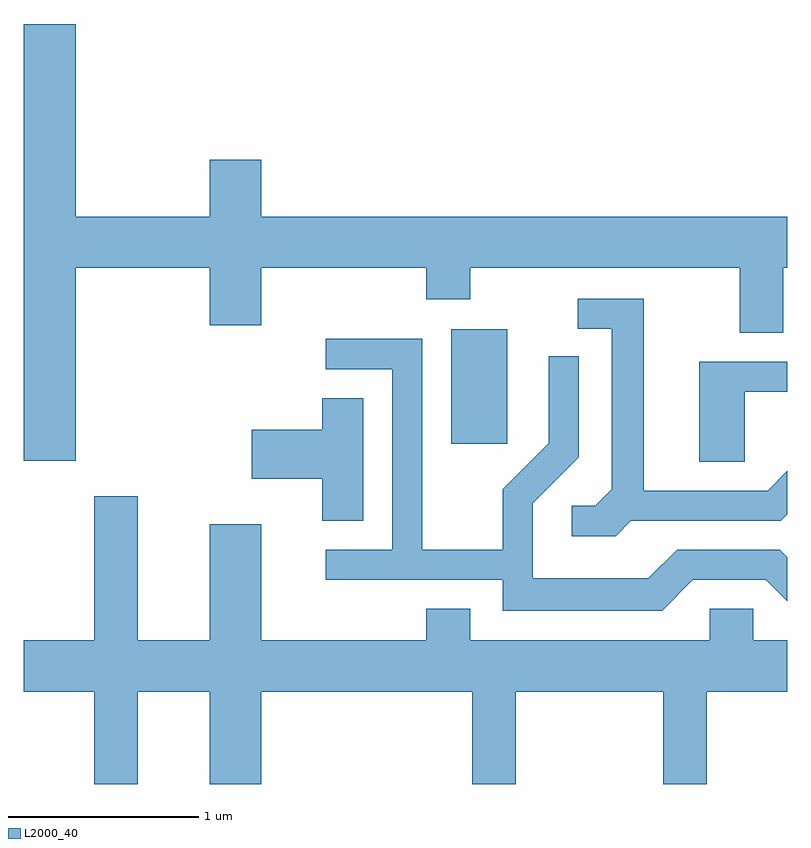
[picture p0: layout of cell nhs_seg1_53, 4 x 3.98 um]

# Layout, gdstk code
import gdstk
lib = gdstk.Library(unit=1e-6, precision=1e-09)
def R(c, l, rs):  # rectangles x0, y0, x1, y1
    for r in rs: c.add(gdstk.rectangle(r[:2], r[2:], *l))
def P(c, l, *ps):  # polygons
    for p in ps: c.add(gdstk.Polygon(p, *l))
L2000_40 = (2000, 40)

nhs_seg1_53 = lib.new_cell('nhs_seg1_53')
R(nhs_seg1_53, L2000_40, [(187.851,947.496,188.144,948.094)])
P(nhs_seg1_53, L2000_40, [(185.884,948.416),(186.586,948.416),(186.586,948.116),(186.854,948.116),(186.854,948.416),(187.721,948.416),(187.721,948.251),(187.949,948.251),(187.949,948.416),(189.361,948.416),(189.361,948.076),(189.589,948.076),(189.589,948.416),(189.611,948.416),(189.611,948.684),(186.854,948.684),(186.854,948.984),(186.586,948.984),(186.586,948.684),(185.884,948.684),(185.884,949.694),(185.611,949.694),(185.611,947.406),(185.884,947.406)],
  [(188.792,947.091),(189.577,947.091),(189.611,947.125),(189.611,947.352),(189.509,947.249),(188.859,947.249),(188.859,948.254),(188.513,948.254),(188.513,948.096),(188.691,948.096),(188.691,947.257),(188.604,947.169),(188.483,947.169),(188.483,947.011),(188.712,947.011)],
  [(189.117,946.781),(189.499,946.781),(189.611,946.669),(189.611,946.9),(189.572,946.939),(189.034,946.939),(188.884,946.789),(188.279,946.789),(188.279,947.184),(188.519,947.424),(188.519,947.953),(188.361,947.953),(188.361,947.497),(188.121,947.257),(188.121,946.939),(187.699,946.939),(187.699,948.044),(187.193,948.044),(187.193,947.886),(187.541,947.886),(187.541,946.939),(187.193,946.939),(187.193,946.781),(188.121,946.781),(188.121,946.621),(188.957,946.621)],
  [(189.389,947.766),(189.611,947.766),(189.611,947.924),(189.151,947.924),(189.151,947.401),(189.389,947.401)],
  [(187.389,947.734),(187.176,947.734),(187.176,947.569),(186.806,947.569),(186.806,947.311),(187.176,947.311),(187.176,947.091),(187.389,947.091)],
  [(186.209,946.196),(186.586,946.196),(186.586,945.712),(186.854,945.712),(186.854,946.196),(187.961,946.196),(187.961,945.712),(188.189,945.712),(188.189,946.196),(188.961,946.196),(188.961,945.712),(189.189,945.712),(189.189,946.196),(189.611,946.196),(189.611,946.464),(189.434,946.464),(189.434,946.629),(189.206,946.629),(189.206,946.464),(187.949,946.464),(187.949,946.629),(187.721,946.629),(187.721,946.464),(186.854,946.464),(186.854,947.074),(186.586,947.074),(186.586,946.464),(186.209,946.464),(186.209,947.219),(185.981,947.219),(185.981,946.464),(185.611,946.464),(185.611,946.196),(185.981,946.196),(185.981,945.712),(186.209,945.712)])

lib.write_gds('nhs_seg1_53.gds')
